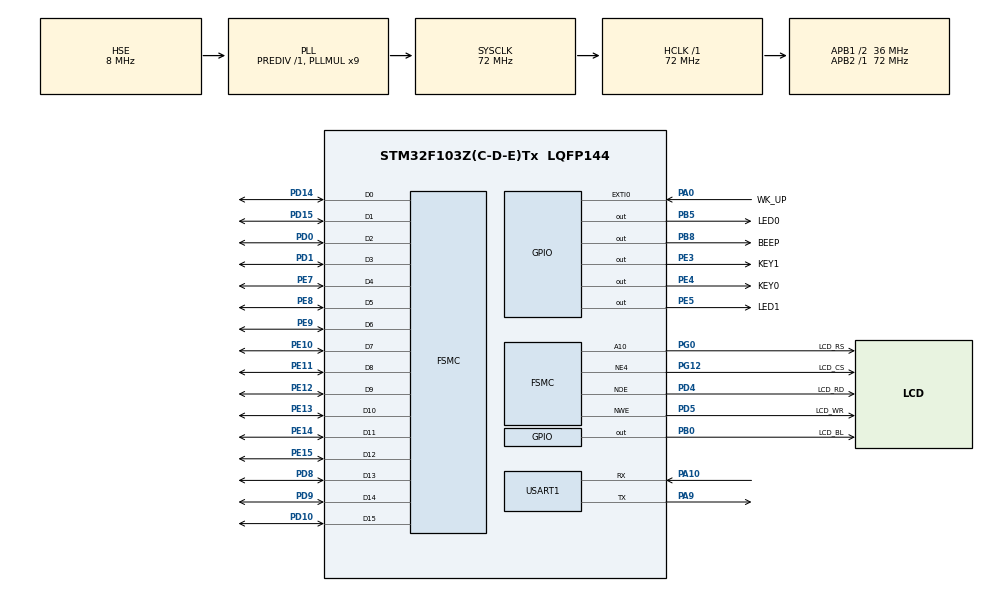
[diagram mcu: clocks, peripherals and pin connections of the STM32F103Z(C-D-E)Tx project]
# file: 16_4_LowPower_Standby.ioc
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FSMC.AddressSetupTime1=0
FSMC.BusTurnAroundDuration1=15
FSMC.DataSetupTime1=15
FSMC.ExtendedAddressSetupTime1=0
FSMC.ExtendedDataSetupTime1=1
FSMC.ExtendedMode1=FSMC_EXTENDED_MODE_ENABLE
Mcu.Family=STM32F1
Mcu.Name=STM32F103Z(C-D-E)Tx
Mcu.Package=LQFP144
NVIC.EXTI0_IRQn=true\:2\:2\:true\:false\:true\:true\:true\:true
NVIC.PriorityGroup=NVIC_PRIORITYGROUP_2
NVIC.USART1_IRQn=true\:2\:2\:true\:false\:true\:true\:true\:true
OSC_IN.Mode=HSE-External-Oscillator
OSC_IN.Signal=RCC_OSC_IN
OSC_OUT.Mode=HSE-External-Oscillator
OSC_OUT.Signal=RCC_OSC_OUT
PA0-WKUP.GPIO_Label=WK_UP
PA0-WKUP.GPIO_PuPd=GPIO_PULLDOWN
PA0-WKUP.Signal=GPXTI0
PA10.Mode=Asynchronous
PA10.Signal=USART1_RX
PA13.Mode=Serial_Wire
PA13.Signal=SYS_JTMS-SWDIO
PA14.Mode=Serial_Wire
PA14.Signal=SYS_JTCK-SWCLK
PA9.Mode=Asynchronous
PA9.Signal=USART1_TX
PB0.GPIO_Label=LCD_BL
PB0.GPIO_PuPd=GPIO_PULLUP
PB0.GPIO_Speed=GPIO_SPEED_FREQ_HIGH
PB0.PinState=GPIO_PIN_SET
PB0.Signal=GPIO_Output
PB5.GPIO_Label=LED0
PB5.GPIO_PuPd=GPIO_PULLUP
PB5.GPIO_Speed=GPIO_SPEED_FREQ_HIGH
PB5.PinState=GPIO_PIN_SET
PB5.Signal=GPIO_Output
PB8.GPIO_Label=BEEP
PB8.GPIO_ModeDefaultOutputPP=GPIO_MODE_OUTPUT_PP
PB8.GPIO_PuPd=GPIO_PULLDOWN
PB8.GPIO_Speed=GPIO_SPEED_FREQ_HIGH
PB8.PinState=GPIO_PIN_RESET
PB8.Signal=GPIO_Output
PC14-OSC32_IN.Mode=LSE-External-Oscillator
PC14-OSC32_IN.Signal=RCC_OSC32_IN
PC15-OSC32_OUT.Mode=LSE-External-Oscillator
PC15-OSC32_OUT.Signal=RCC_OSC32_OUT
PD0.Signal=FSMC_D2_DA2
PD1.Signal=FSMC_D3_DA3
PD10.Signal=FSMC_D15_DA15
PD14.Signal=FSMC_D0_DA0
PD15.Signal=FSMC_D1_DA1
PD4.GPIO_Label=LCD_RD
PD4.Signal=FSMC_NOE
PD5.GPIO_Label=LCD_WR
PD5.Signal=FSMC_NWE
PD8.Signal=FSMC_D13_DA13
PD9.Signal=FSMC_D14_DA14
PE10.Signal=FSMC_D7_DA7
PE11.Signal=FSMC_D8_DA8
PE12.Signal=FSMC_D9_DA9
PE13.Signal=FSMC_D10_DA10
PE14.Signal=FSMC_D11_DA11
PE15.Signal=FSMC_D12_DA12
PE3.GPIO_Label=KEY1
PE3.GPIO_PuPd=GPIO_PULLUP
PE3.GPIO_Speed=GPIO_SPEED_FREQ_HIGH
PE3.PinState=GPIO_PIN_SET
PE3.Signal=GPIO_Output
PE4.GPIO_Label=KEY0
PE4.GPIO_PuPd=GPIO_PULLUP
PE4.GPIO_Speed=GPIO_SPEED_FREQ_HIGH
PE4.PinState=GPIO_PIN_SET
PE4.Signal=GPIO_Output
PE5.GPIO_Label=LED1
PE5.GPIO_PuPd=GPIO_PULLUP
PE5.GPIO_Speed=GPIO_SPEED_FREQ_HIGH
PE5.PinState=GPIO_PIN_SET
PE5.Signal=GPIO_Output
PE7.Signal=FSMC_D4_DA4
PE8.Signal=FSMC_D5_DA5
PE9.Signal=FSMC_D6_DA6
PG0.GPIO_Label=LCD_RS
PG0.Signal=FSMC_A10
PG12.GPIO_Label=LCD_CS
PG12.Mode=NorPsramChipSelect4_1
PG12.Signal=FSMC_NE4
ProjectManager.HeapSize=0x200
ProjectManager.StackSize=0x400
ProjectManager.TargetToolchain=STM32CubeIDE
RCC.AHBFreq_Value=72000000
RCC.APB1CLKDivider=RCC_HCLK_DIV2
RCC.APB1Freq_Value=36000000
RCC.APB1TimFreq_Value=72000000
RCC.APB2Freq_Value=72000000
RCC.APB2TimFreq_Value=72000000
RCC.HCLKFreq_Value=72000000
RCC.PLLMUL=RCC_PLL_MUL9
RCC.PLLSourceVirtual=RCC_PLLSOURCE_HSE
RCC.SYSCLKFreq_VALUE=72000000
RCC.SYSCLKSource=RCC_SYSCLKSOURCE_PLLCLK
RCC.USBFreq_Value=72000000
SH.FSMC_A10.0=FSMC_A10,A10_1
SH.FSMC_D0_DA0.0=FSMC_D0,16b-d1
SH.FSMC_D10_DA10.0=FSMC_D10,16b-d1
SH.FSMC_D11_DA11.0=FSMC_D11,16b-d1
SH.FSMC_D12_DA12.0=FSMC_D12,16b-d1
SH.FSMC_D13_DA13.0=FSMC_D13,16b-d1
SH.FSMC_D14_DA14.0=FSMC_D14,16b-d1
SH.FSMC_D15_DA15.0=FSMC_D15,16b-d1
SH.FSMC_D1_DA1.0=FSMC_D1,16b-d1
SH.FSMC_D2_DA2.0=FSMC_D2,16b-d1
SH.FSMC_D3_DA3.0=FSMC_D3,16b-d1
SH.FSMC_D4_DA4.0=FSMC_D4,16b-d1
SH.FSMC_D5_DA5.0=FSMC_D5,16b-d1
SH.FSMC_D6_DA6.0=FSMC_D6,16b-d1
SH.FSMC_D7_DA7.0=FSMC_D7,16b-d1
SH.FSMC_D8_DA8.0=FSMC_D8,16b-d1
SH.FSMC_D9_DA9.0=FSMC_D9,16b-d1
SH.FSMC_NOE.0=FSMC_NOE,Lcd1
SH.FSMC_NWE.0=FSMC_NWE,Lcd1
USART1.VirtualMode=VM_ASYNC
board=custom

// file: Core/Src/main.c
/* USER CODE BEGIN Header */

/* USER CODE END Header */
#include "main.h"
#include "usart.h"
#include "gpio.h"
#include "fsmc.h"

/* USER CODE BEGIN Includes */
#include "../../BSP/LED/led.h"
#include "../../BSP/BEEP/beep.h"
#include "../../BSP/KEY/key.h"
#include "../../BSP/LCD/lcd.h"
#include "../../BSP/PWR/pwr.h"
#include "../../SYSTEM/delay/delay.h"
#include "../../SYSTEM/sys/sys.h"
/* USER CODE END Includes */

void SystemClock_Config(void);

int main(void)
{
  /* USER CODE BEGIN 1 */
    uint8_t t = 0;
    uint8_t key = 0;
  /* USER CODE END 1 */

  /* MCU Configuration--------------------------------------------------------*/

  /* Reset of all peripherals, Initializes the Flash interface and the Systick. */
  HAL_Init();

  /* Configure the system clock */
  SystemClock_Config();

  /* USER CODE BEGIN SysInit */
  delay_init(72);						   /* 初始化延时函数 */
  /* USER CODE END SysInit */

  /* Initialize all configured peripherals */
  MX_GPIO_Init();
  MX_FSMC_Init();
  MX_USART1_UART_Init();
  /* USER CODE BEGIN 2 */
  lcd_init();                         /* 初始化LCD */

  lcd_show_string(30,  50, 200, 16, 16, "STM32", RED);
  lcd_show_string(30,  70, 200, 16, 16, "STANDBY TEST", RED);
  lcd_show_string(30,  90, 200, 16, 16, "ATOM@ALIENTEK", RED);
  lcd_show_string(30, 110, 200, 16, 16, "KEY0:Enter STANDBY MODE", RED);
  lcd_show_string(30, 130, 200, 16, 16, "KEY_UP:Exit STANDBY MODE", RED);
  /* USER CODE END 2 */

  /* Infinite loop */
  /* USER CODE BEGIN WHILE */
  while (1)
  {
      key = key_scan(0);

      if (key == KEY0_PRES)
      {
          pwr_enter_standby();        /* 进入待机模式 */
          /* 从待机模式唤醒相当于系统重启(复位), 因此不会执行到这里 */
      }

      if ((t % 20) == 0)
      {
          LED0_TOGGLE();              /* 每200ms,翻转一次LED0 */
      }

      delay_ms(10);
      t++;

    /* USER CODE END WHILE */

  }
}

void SystemClock_Config(void)
{
  RCC_OscInitTypeDef RCC_OscInitStruct = {0};
  RCC_ClkInitTypeDef RCC_ClkInitStruct = {0};

  /** Initializes the RCC Oscillators according to the specified parameters
  * in the RCC_OscInitTypeDef structure.
  */
  RCC_OscInitStruct.OscillatorType = RCC_OSCILLATORTYPE_HSE;
  RCC_OscInitStruct.HSEState = RCC_HSE_ON;
  RCC_OscInitStruct.HSEPredivValue = RCC_HSE_PREDIV_DIV1;
  RCC_OscInitStruct.HSIState = RCC_HSI_ON;
  RCC_OscInitStruct.PLL.PLLState = RCC_PLL_ON;
  RCC_OscInitStruct.PLL.PLLSource = RCC_PLLSOURCE_HSE;
  RCC_OscInitStruct.PLL.PLLMUL = RCC_PLL_MUL9;
  if (HAL_RCC_OscConfig(&RCC_OscInitStruct) != HAL_OK)
  {
    Error_Handler();
  }

  /** Initializes the CPU, AHB and APB buses clocks
  */
  RCC_ClkInitStruct.ClockType = RCC_CLOCKTYPE_HCLK|RCC_CLOCKTYPE_SYSCLK
                              |RCC_CLOCKTYPE_PCLK1|RCC_CLOCKTYPE_PCLK2;
  RCC_ClkInitStruct.SYSCLKSource = RCC_SYSCLKSOURCE_PLLCLK;
  RCC_ClkInitStruct.AHBCLKDivider = RCC_SYSCLK_DIV1;
  RCC_ClkInitStruct.APB1CLKDivider = RCC_HCLK_DIV2;
  RCC_ClkInitStruct.APB2CLKDivider = RCC_HCLK_DIV1;

  if (HAL_RCC_ClockConfig(&RCC_ClkInitStruct, FLASH_LATENCY_2) != HAL_OK)
  {
    Error_Handler();
  }
}

void Error_Handler(void)
{
  __disable_irq();
  while (1)
  {
  }
}
